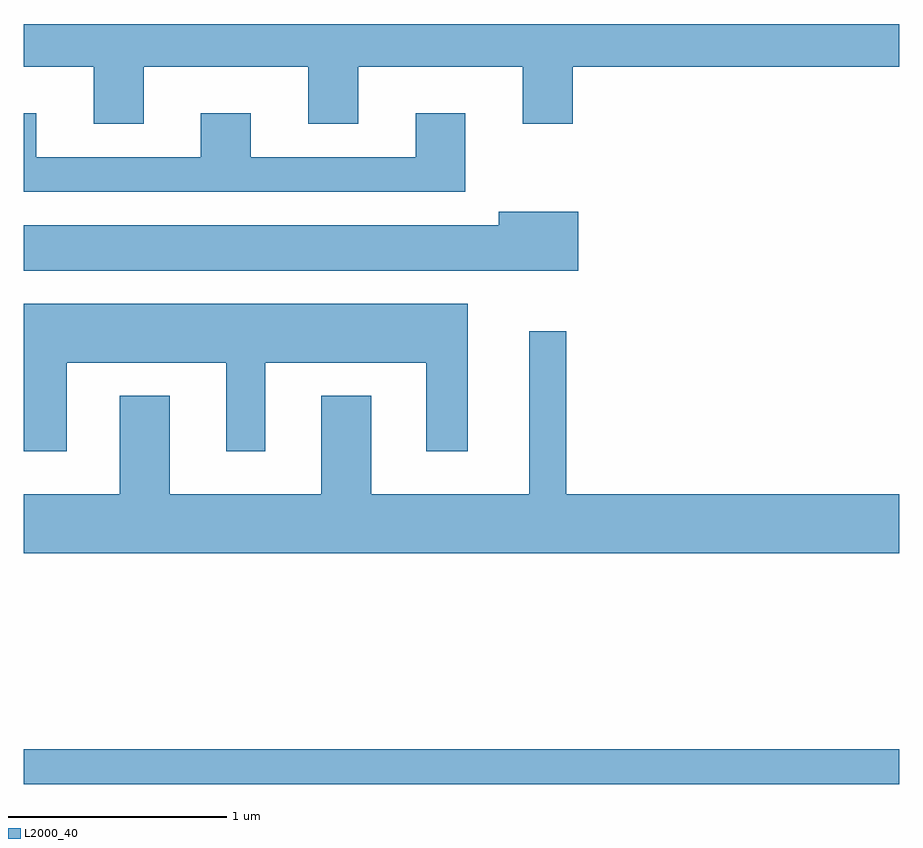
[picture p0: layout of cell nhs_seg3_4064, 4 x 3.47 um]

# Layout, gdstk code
import gdstk
lib = gdstk.Library(unit=1e-6, precision=1e-09)
def R(c, l, rs):  # rectangles x0, y0, x1, y1
    for r in rs: c.add(gdstk.rectangle(r[:2], r[2:], *l))
def P(c, l, *ps):  # polygons
    for p in ps: c.add(gdstk.Polygon(p, *l))
L2000_40 = (2000, 40)

nhs_seg3_4064 = lib.new_cell('nhs_seg3_4064')
R(nhs_seg3_4064, L2000_40, [(303.611,1220.421,307.611,1220.579)])
P(nhs_seg3_4064, L2000_40, [(304.159,1223.696),(304.911,1223.696),(304.911,1223.436),(305.139,1223.436),(305.139,1223.696),(305.891,1223.696),(305.891,1223.436),(306.119,1223.436),(306.119,1223.696),(307.611,1223.696),(307.611,1223.892),(303.611,1223.892),(303.611,1223.696),(303.931,1223.696),(303.931,1223.436),(304.159,1223.436)],
  [(305.629,1223.484),(305.401,1223.484),(305.401,1223.284),(304.649,1223.284),(304.649,1223.484),(304.421,1223.484),(304.421,1223.284),(303.669,1223.284),(303.669,1223.484),(303.611,1223.484),(303.611,1223.126),(305.629,1223.126)],
  [(306.144,1223.034),(305.781,1223.034),(305.781,1222.974),(303.611,1222.974),(303.611,1222.766),(306.144,1222.766)],
  [(303.809,1222.346),(304.536,1222.346),(304.536,1221.941),(304.714,1221.941),(304.714,1222.346),(305.451,1222.346),(305.451,1221.941),(305.639,1221.941),(305.639,1222.614),(303.611,1222.614),(303.611,1221.941),(303.809,1221.941)],
  [(307.611,1221.744),(306.089,1221.744),(306.089,1222.488),(305.921,1222.488),(305.921,1221.744),(305.199,1221.744),(305.199,1222.194),(304.971,1222.194),(304.971,1221.744),(304.279,1221.744),(304.279,1222.194),(304.051,1222.194),(304.051,1221.744),(303.611,1221.744),(303.611,1221.476),(307.611,1221.476)])

lib.write_gds('nhs_seg3_4064.gds')
